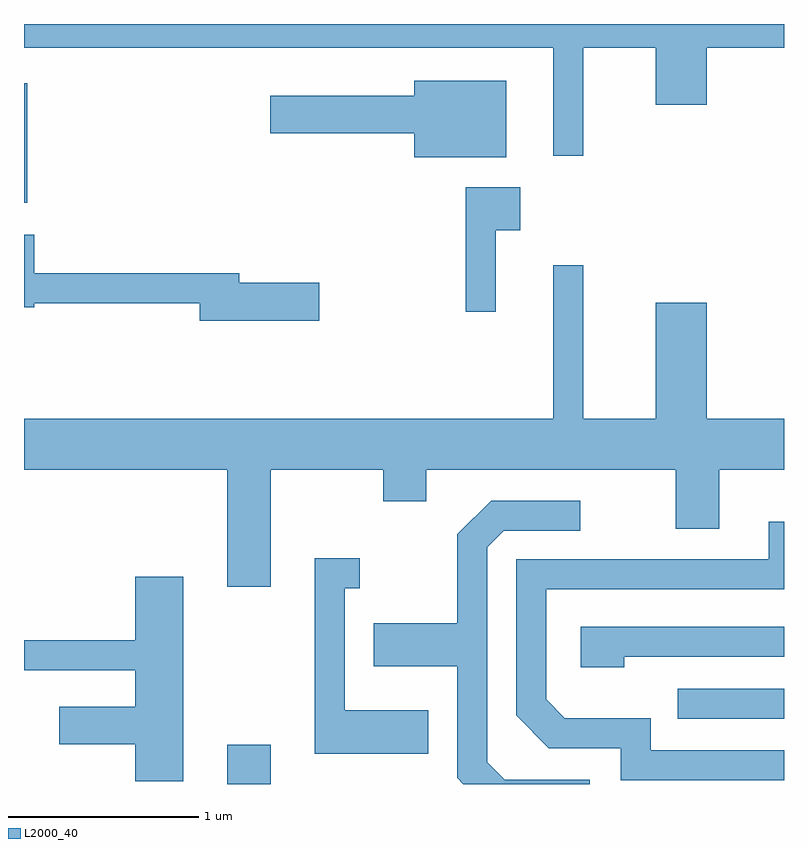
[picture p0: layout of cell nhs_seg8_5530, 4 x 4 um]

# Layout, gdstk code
import gdstk
lib = gdstk.Library(unit=1e-6, precision=1e-09)
def R(c, l, rs):  # rectangles x0, y0, x1, y1
    for r in rs: c.add(gdstk.rectangle(r[:2], r[2:], *l))
def P(c, l, *ps):  # polygons
    for p in ps: c.add(gdstk.Polygon(p, *l))
L2000_40 = (2000, 40)

nhs_seg8_5530 = lib.new_cell('nhs_seg8_5530')
R(nhs_seg8_5530, L2000_40, [(352.681,1810.342,352.909,1810.549), (355.053,1810.686,355.611,1810.844), (351.611,1813.401,351.629,1814.029)])
P(nhs_seg8_5530, L2000_40, [(354.554,1814.216),(354.936,1814.216),(354.936,1813.916),(355.204,1813.916),(355.204,1814.216),(355.611,1814.216),(355.611,1814.342),(351.611,1814.342),(351.611,1814.216),(354.396,1814.216),(354.396,1813.648),(354.554,1813.648)],
  [(354.149,1814.044),(353.666,1814.044),(353.666,1813.964),(352.906,1813.964),(352.906,1813.766),(353.666,1813.766),(353.666,1813.641),(354.149,1813.641)],
  [(354.094,1813.256),(354.224,1813.256),(354.224,1813.484),(353.936,1813.484),(353.936,1812.828),(354.094,1812.828)],
  [(353.164,1812.979),(352.744,1812.979),(352.744,1813.029),(351.664,1813.029),(351.664,1813.234),(351.611,1813.234),(351.611,1812.851),(351.664,1812.851),(351.664,1812.871),(352.536,1812.871),(352.536,1812.781),(353.164,1812.781)],
  [(352.909,1811.996),(353.501,1811.996),(353.501,1811.831),(353.729,1811.831),(353.729,1811.996),(355.041,1811.996),(355.041,1811.686),(355.269,1811.686),(355.269,1811.996),(355.611,1811.996),(355.611,1812.264),(355.204,1812.264),(355.204,1812.874),(354.936,1812.874),(354.936,1812.264),(354.554,1812.264),(354.554,1813.073),(354.396,1813.073),(354.396,1812.264),(351.611,1812.264),(351.611,1811.996),(352.681,1811.996),(352.681,1811.381),(352.909,1811.381)],
  [(354.588,1810.364),(354.142,1810.364),(354.049,1810.457),(354.049,1811.589),(354.137,1811.676),(354.538,1811.676),(354.538,1811.834),(354.069,1811.834),(353.891,1811.657),(353.891,1811.189),(353.451,1811.189),(353.451,1810.961),(353.891,1810.961),(353.891,1810.374),(353.923,1810.342),(354.588,1810.342)],
  [(355.611,1810.519),(354.909,1810.519),(354.909,1810.689),(354.457,1810.689),(354.359,1810.787),(354.359,1811.366),(355.611,1811.366),(355.611,1811.723),(355.531,1811.723),(355.531,1811.524),(354.201,1811.524),(354.201,1810.704),(354.374,1810.531),(354.751,1810.531),(354.751,1810.361),(355.611,1810.361)],
  [(353.739,1810.729),(353.299,1810.729),(353.299,1811.371),(353.378,1811.371),(353.378,1811.529),(353.141,1811.529),(353.141,1810.501),(353.739,1810.501)],
  [(352.449,1811.434),(352.196,1811.434),(352.196,1811.099),(351.611,1811.099),(351.611,1810.941),(352.196,1810.941),(352.196,1810.749),(351.796,1810.749),(351.796,1810.551),(352.196,1810.551),(352.196,1810.356),(352.449,1810.356)],
  [(354.769,1811.011),(355.611,1811.011),(355.611,1811.169),(354.541,1811.169),(354.541,1810.956),(354.769,1810.956)])

lib.write_gds('nhs_seg8_5530.gds')
